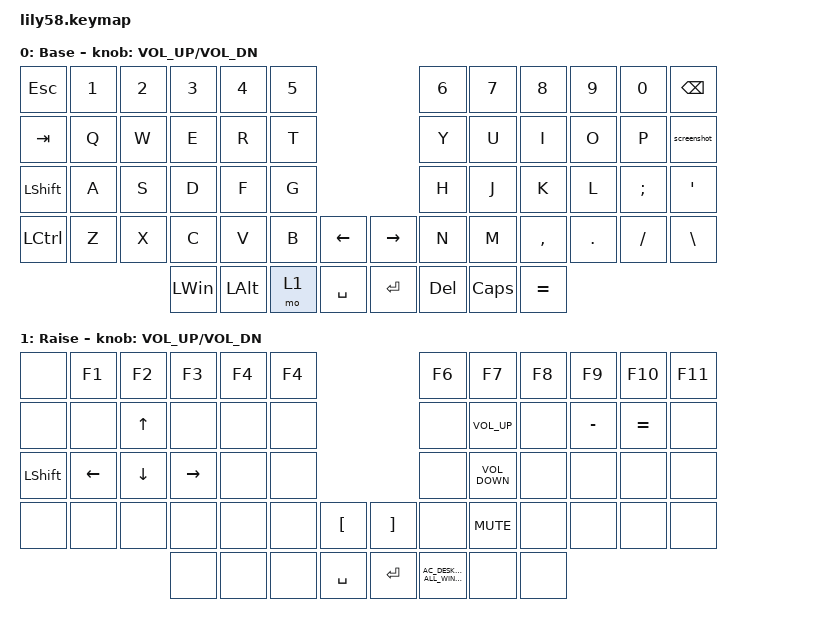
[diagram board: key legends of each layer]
/*
 * Copyright (c) 2020 The ZMK Contributors
 *
 * SPDX-License-Identifier: MIT
 */

#include <behaviors.dtsi>
#include <dt-bindings/zmk/keys.h>

/ {
    macros {
        screenshot: screenshot {
            compatible = "zmk,behavior-macro";
            #binding-cells = <0>;
            bindings = <&kp LEFT_WIN &kp LEFT_SHIFT &kp S>;
            label = "SCREENSHOT";
        };
    };

    keymap {
        compatible = "zmk,keymap";

        DCtest1 {
            // ------------------------------------------------------------------------------------------------------------
            // |  ESC  |  1  |  2  |  3   |  4   |  5   |                   |  6   |  7    |  8    |  9   |   0   |   `   |
            // |  TAB  |  Q  |  W  |  E   |  R   |  T   |                   |  Y   |  U    |  I    |  O   |   P   |   -   |
            // |  CTRL |  A  |  S  |  D   |  F   |  G   |                   |  H   |  J    |  K    |  L   |   ;   |   '   |
            // | SHIFT |  Z  |  X  |  C   |  V   |  B   |   "["  |  |  "]"  |  N   |  M    |  ,    |  .   |   /   | SHIFT |
            //                     | ALT  | GUI  | LOWER|  SPACE |  | ENTER | RAISE| BSPC  | GUI   |

            display-name = "Base";
            bindings = <
&kp ESC           &kp N1  &kp N2  &kp N3        &kp N4        &kp N5                          &kp N6      &kp N7    &kp N8     &kp N9   &kp N0    &kp BACKSPACE
&kp TAB           &kp Q   &kp W   &kp E         &kp R         &kp T                           &kp Y       &kp U     &kp I      &kp O    &kp P     &screenshot
&kp LEFT_SHIFT    &kp A   &kp S   &kp D         &kp F         &kp G                           &kp H       &kp J     &kp K      &kp L    &kp SEMI  &kp SQT
&kp LEFT_CONTROL  &kp Z   &kp X   &kp C         &kp V         &kp B   &kp LEFT     &kp RIGHT  &kp N       &kp M     &kp COMMA  &kp DOT  &kp FSLH  &kp BACKSLASH
                                  &kp LEFT_WIN  &kp LEFT_ALT  &mo 1   &kp SPACE    &kp RET    &kp DELETE  &kp CAPS  &kp EQUAL
            >;

            sensor-bindings = <&inc_dec_kp C_VOL_UP C_VOL_DN>;
        };

        raise_layer {
            // ------------------------------------------------------------------------------------------------------------
            // |       |     |     |      |      |      |                   |      |       |       |      |       |       |
            // |   `   |  1  |  2  |  3   |  4   |  5   |                   |  6   |   7   |   8   |  9   |   0   |       |
            // |   F1  |  F2 |  F3 |  F4  |  F5  |  F6  |                   |      |   <-  |   v   |  ^   |  ->   |       |
            // |   F7  |  F8 |  F9 |  F10 |  F11 |  F12 |        |  |       |  +   |   -   |   =   |  [   |   ]   |   \   |
            //                     |      |      |      |        |  |       |      |       |       |

            display-name = "Raise";
            bindings = <
&none           &kp F1    &kp F2        &kp F3     &kp F4  &kp F4                                         &kp F6                             &kp F7             &kp F8  &kp F9     &kp F10    &kp F11
&none           &none     &kp UP_ARROW  &none      &none   &none                                          &none                              &kp C_VOLUME_UP    &none   &kp MINUS  &kp EQUAL  &none
&kp LEFT_SHIFT  &kp LEFT  &kp DOWN      &kp RIGHT  &none   &none                                          &none                              &kp C_VOLUME_DOWN  &none   &none      &none      &none
&none           &none     &none         &none      &none   &none   &kp LEFT_BRACKET    &kp RIGHT_BRACKET  &none                              &kp K_MUTE         &none   &none      &none      &none
                                        &none      &none   &none   &kp SPACE           &kp ENTER          &kp C_AC_DESKTOP_SHOW_ALL_WINDOWS  &none              &none
            >;

            sensor-bindings = <&inc_dec_kp C_VOL_UP C_VOL_DN>;
        };
    };
};
